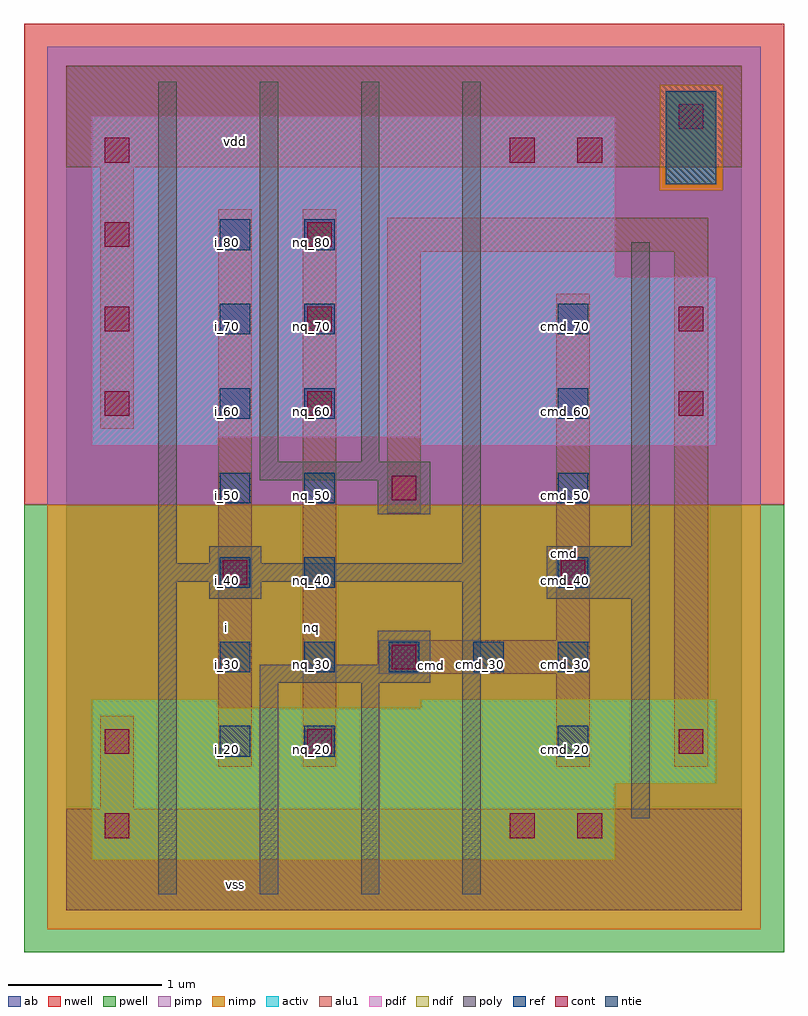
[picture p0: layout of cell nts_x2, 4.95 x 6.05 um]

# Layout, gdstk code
import gdstk
lib = gdstk.Library(unit=1e-6, precision=2.5e-09)
def R(c, l, rs):  # rectangles x0, y0, x1, y1
    for r in rs: c.add(gdstk.rectangle(r[:2], r[2:], *l))
def A(c, l, x, y, w, h, nx, ny, dx, dy):  # array of equal rectangles
    R(c, l, [(x+i*dx, y+j*dy, x+i*dx+w, y+j*dy+h) for i in range(nx) for j in range(ny)])
ndif = (3, 0)
pdif = (4, 0)
ntie = (5, 0)
ref = (24, 0)
cont = (25, 0)
pwell = (41, 0)
nwell = (42, 0)
activ = (43, 0)
pimp = (44, 0)
nimp = (45, 0)
poly = (46, 0)
alu1 = (49, 0)
ab = (63, 0)

nts_x2 = lib.new_cell('nts_x2')
R(nts_x2, ndif, [(0.165,0.33,3.575,0.825), (0.165,0.825,4.235,1.32), (0.165,1.32,0.99,1.375), (2.31,1.32,4.235,1.375)])
R(nts_x2, pdif, [(0.165,3.025,0.99,3.08), (2.31,3.025,4.235,3.08), (0.165,3.08,4.235,4.125), (0.165,4.125,3.575,5.17)])
R(nts_x2, ntie, [(3.905,4.73,4.235,5.335)])
A(nts_x2, ref, 1, 1.55, 0.2, 0.2, 5, 1, 0.55, 0)
A(nts_x2, ref, 1, 2.1, 0.2, 0.2, 1, 5, 0, 0.55)
A(nts_x2, ref, 1.55, 2.1, 0.2, 0.2, 1, 5, 0, 0.55)
A(nts_x2, ref, 3.2, 2.1, 0.2, 0.2, 1, 4, 0, 0.55)
R(nts_x2, ref, [(1,1,1.2,1.2), (1.55,1,1.75,1.2), (3.2,1,3.4,1.2)])
A(nts_x2, cont, 0.25, 3.22, 0.16, 0.16, 1, 4, 0, 0.55)
A(nts_x2, cont, 1.57, 3.22, 0.16, 0.16, 1, 3, 0, 0.55)
R(nts_x2, cont, [(0.25,0.47,0.41,0.63), (2.89,0.47,3.05,0.63), (3.33,0.47,3.49,0.63), (0.25,1.02,0.41,1.18), (1.57,1.02,1.73,1.18), (3.99,1.02,4.15,1.18), (2.12,1.57,2.28,1.73), (1.02,2.12,1.18,2.28), (3.22,2.12,3.38,2.28), (2.12,2.67,2.28,2.83), (3.99,3.22,4.15,3.38), (3.99,3.77,4.15,3.93), (2.89,4.87,3.05,5.03), (3.33,4.87,3.49,5.03), (3.99,5.09,4.15,5.25)])
R(nts_x2, pwell, [(-0.275,-0.275,4.675,2.64)])
R(nts_x2, nwell, [(-0.275,2.64,4.675,5.775)])
R(nts_x2, activ, [(0.165,0.33,3.575,0.825), (0.165,0.825,4.235,1.32), (0.165,1.32,0.99,1.375), (2.31,1.32,4.235,1.375), (0.165,3.025,0.99,3.08), (2.31,3.025,4.235,3.08), (0.165,3.08,4.235,4.125), (0.165,4.125,3.575,5.17), (3.905,4.73,4.235,5.335)])
R(nts_x2, pimp, [(-0.125,2.64,4.525,4.69), (-0.125,4.69,3.865,5.375), (4.275,4.69,4.525,5.375), (-0.125,5.375,4.525,5.625)])
R(nts_x2, nimp, [(-0.125,-0.125,4.525,2.64), (3.865,4.69,4.275,5.375)])
R(nts_x2, poly, [(0.6,0.105,0.72,2.14), (1.26,0.105,1.38,1.48), (1.92,0.105,2.04,1.48), (2.58,0.105,2.7,2.14), (3.68,0.6,3.8,2.03), (1.26,1.48,2.37,1.6), (2.03,1.6,2.37,1.82), (0.93,2.03,1.27,2.14), (3.13,2.03,3.8,2.37), (0.6,2.14,2.7,2.26), (0.6,2.26,0.72,5.395), (0.93,2.26,1.27,2.37), (2.58,2.26,2.7,5.395), (3.68,2.37,3.8,4.35), (2.03,2.58,2.37,2.8), (1.26,2.8,2.37,2.92), (1.26,2.92,1.38,5.395), (1.92,2.92,2.04,5.395)])
R(nts_x2, alu1, [(0,0,4.4,0.66), (0.22,0.66,0.44,1.265), (0.99,0.935,1.21,4.565), (1.54,0.935,1.76,4.565), (3.19,0.935,3.41,1.54), (3.96,0.935,4.18,4.29), (2.035,1.54,3.41,1.76), (3.19,1.76,3.41,4.015), (2.09,2.585,2.31,4.29), (0.22,3.135,0.44,4.84), (2.09,4.29,4.18,4.51), (0,4.84,4.4,5.5)])
R(nts_x2, ab, [(0,0,4.4,5.5)])
nts_x2.add(gdstk.Label('vss', (1.1,0.165), layer=49, texttype=0))
nts_x2.add(gdstk.Label('cmd', (2.3775,1.595), layer=49, texttype=0))
nts_x2.add(gdstk.Label('cmd', (3.245,2.3225), layer=49, texttype=0))
nts_x2.add(gdstk.Label('nq', (1.595,1.8425), layer=49, texttype=0))
nts_x2.add(gdstk.Label('i', (1.045,1.8425), layer=49, texttype=0))
nts_x2.add(gdstk.Label('vdd', (1.1,5.005), layer=49, texttype=0))
nts_x2.add(gdstk.Label('cmd_30', (2.15,1.6), layer=24, texttype=0))
nts_x2.add(gdstk.Label('cmd_30', (2.7,1.6), layer=24, texttype=0))
nts_x2.add(gdstk.Label('i_80', (1.05,4.35), layer=24, texttype=0))
nts_x2.add(gdstk.Label('i_70', (1.05,3.8), layer=24, texttype=0))
nts_x2.add(gdstk.Label('i_60', (1.05,3.25), layer=24, texttype=0))
nts_x2.add(gdstk.Label('i_50', (1.05,2.7), layer=24, texttype=0))
nts_x2.add(gdstk.Label('i_40', (1.05,2.15), layer=24, texttype=0))
nts_x2.add(gdstk.Label('i_30', (1.05,1.6), layer=24, texttype=0))
nts_x2.add(gdstk.Label('i_20', (1.05,1.05), layer=24, texttype=0))
nts_x2.add(gdstk.Label('nq_80', (1.6,4.35), layer=24, texttype=0))
nts_x2.add(gdstk.Label('nq_70', (1.6,3.8), layer=24, texttype=0))
nts_x2.add(gdstk.Label('nq_60', (1.6,3.25), layer=24, texttype=0))
nts_x2.add(gdstk.Label('nq_50', (1.6,2.7), layer=24, texttype=0))
nts_x2.add(gdstk.Label('nq_40', (1.6,2.15), layer=24, texttype=0))
nts_x2.add(gdstk.Label('nq_30', (1.6,1.6), layer=24, texttype=0))
nts_x2.add(gdstk.Label('nq_20', (1.6,1.05), layer=24, texttype=0))
nts_x2.add(gdstk.Label('cmd_40', (3.25,2.15), layer=24, texttype=0))
nts_x2.add(gdstk.Label('cmd_30', (3.25,1.6), layer=24, texttype=0))
nts_x2.add(gdstk.Label('cmd_20', (3.25,1.05), layer=24, texttype=0))
nts_x2.add(gdstk.Label('cmd_50', (3.25,2.7), layer=24, texttype=0))
nts_x2.add(gdstk.Label('cmd_60', (3.25,3.25), layer=24, texttype=0))
nts_x2.add(gdstk.Label('cmd_70', (3.25,3.8), layer=24, texttype=0))

lib.write_gds('nts_x2.gds')
